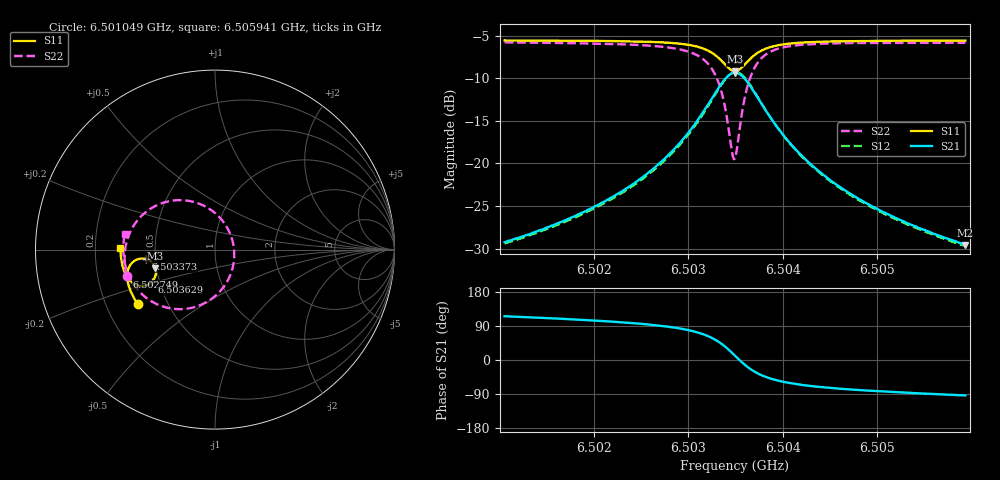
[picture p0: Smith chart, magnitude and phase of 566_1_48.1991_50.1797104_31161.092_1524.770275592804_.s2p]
#  HZ  S  RI  R  50.00
! Rohde & Schwarz Vector Network Analyzer
! Rohde-Schwarz,ZNB20-2Port,1311601062101988,3.16
! Created: UTC 3/20/2024, 12:01:23 PM
! freq[Hz]  re:S11  im:S11  re:S21  im:S21  re:S12  im:S12  re:S22  im:S22
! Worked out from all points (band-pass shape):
!   401 points, 6.501049 GHz to 6.505941 GHz, reference 50 ohm
!   highest |S21| = -9.35 dB at 6.503495 GHz (marker M1); lowest = -29.6 dB at 6.505941 GHz (marker M2)
!   |S21| within 3 dB of the highest: 6.503251 GHz to 6.50374 GHz (489 kHz wide, 0.00752 % of centre)
!   lowest |S11| = -9.2 dB at 6.503495 GHz (marker M3), VSWR 2.07, Z = 24.6 - j5.79 ohm
!   |S11| at or under -10 dB: nowhere
!   |S22| runs from -19.5 to -5.8 dB; largest |S21 - S12| = 0.012
!   S11 on the Smith chart (normalised r, x): 6.501049 GHz: 0.34, -0.28; 6.502749 GHz: 0.33, -0.14; 6.503373 GHz: 0.44, -0.05; 6.503629 GHz: 0.45, -0.19; 6.505941 GHz: 0.31, +0.01
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6.5010489e9  -0.4307 -0.3039  -0.0148 0.0311  -0.0131 0.0311  -0.4921 -0.1468
6.5018683e9  -0.4653 -0.2425  -0.014 0.0492  -0.0118 0.0489  -0.5037 -0.0581
6.5023086e9  -0.4804 -0.2029  -0.011 0.0684  -0.00809 0.0674  -0.5 0.00558
6.5026878e9  -0.4891 -0.1603  -0.00149 0.0993  0.00208 0.097  -0.4791 0.0833
6.5027489e9  -0.4897 -0.1519  0.00189 0.1066  0.00538 0.104  -0.4719 0.0994
6.5029691e9  -0.486 -0.1168  0.0239 0.1421  0.0274 0.138  -0.4257 0.1704
6.5031281e9  -0.4711 -0.0846  0.0634 0.1784  0.0661 0.1726  -0.349 0.2342
6.5032748e9  -0.4332 -0.0547  0.1454 0.2074  0.1459 0.2014  -0.1996 0.2756
6.5033727e9  -0.3864 -0.0519  0.2373 0.1908  0.2374 0.1866  -0.0406 0.2327
6.5034583e9  -0.3431 -0.0812  0.3163 0.1161  0.3188 0.1123  0.0855 0.0855
6.5034827e9  -0.335 -0.0954  0.3297 0.0841  0.3333 0.0795  0.1028 0.0251
6.503495e9  -0.3322 -0.1033  0.3342 0.0669  0.338 0.062  0.1066 -0.00671
6.5035194e9  -0.329 -0.1197  0.3378 0.032  0.3419 0.0259  0.1045 -0.0705
6.5035561e9  -0.3311 -0.144  0.3304 -0.0186  0.3342 -0.0269  0.0773 -0.1599
6.5036295e9  -0.3535 -0.1815  0.2835 -0.0955  0.2837 -0.1068  -0.0336 -0.2844
6.5037396e9  -0.3995 -0.2019  0.1959 -0.1413  0.1908 -0.1508  -0.211 -0.3314
6.5038986e9  -0.447 -0.1924  0.1114 -0.1373  0.1045 -0.1425  -0.363 -0.2826
6.5040698e9  -0.4751 -0.171  0.0656 -0.1161  0.0593 -0.1185  -0.437 -0.2156
6.5043144e9  -0.4962 -0.1411  0.0348 -0.0907  0.0299 -0.0913  -0.4812 -0.1419
6.5046813e9  -0.5118 -0.1021  0.0153 -0.0666  0.012 -0.0663  -0.5044 -0.0663
6.5051338e9  -0.5214 -0.0597  0.0052 -0.0495  0.00294 -0.0489  -0.5107 -0.000537
6.505941e9  -0.5265 0.00917  -0.00205 -0.0332  -0.00324 -0.0325  -0.5034 0.0864
